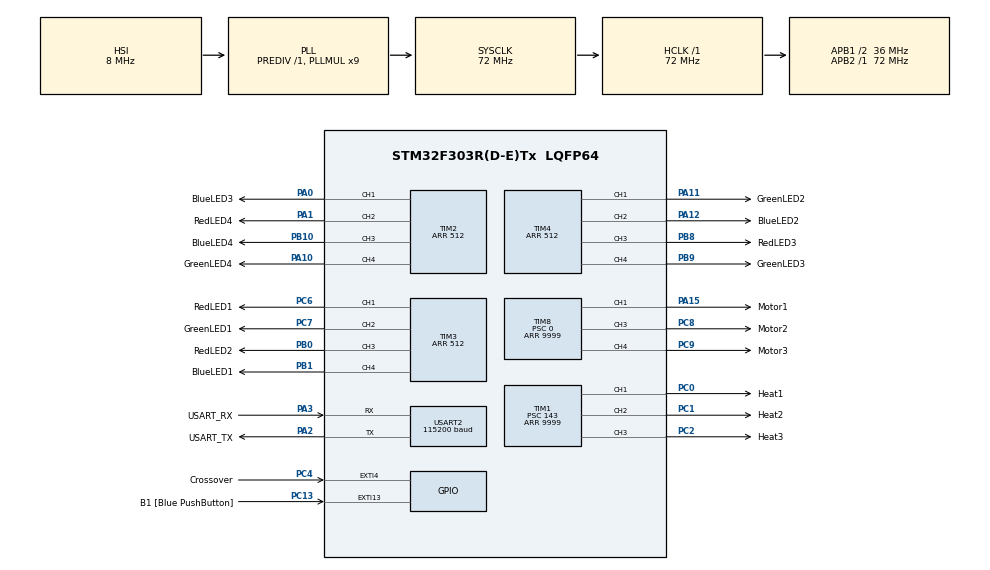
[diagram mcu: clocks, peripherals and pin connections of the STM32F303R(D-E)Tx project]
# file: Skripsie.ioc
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Mcu.Family=STM32F3
Mcu.Name=STM32F303R(D-E)Tx
Mcu.Package=LQFP64
NVIC.EXTI15_10_IRQn=true\:0\:0\:false\:false\:true\:true\:true\:true
NVIC.EXTI4_IRQn=true\:0\:0\:false\:false\:true\:true\:true\:true
NVIC.PriorityGroup=NVIC_PRIORITYGROUP_0
NVIC.USART2_IRQn=true\:0\:0\:false\:false\:true\:true\:true\:true
PA0.GPIO_Label=BlueLED3
PA0.Signal=S_TIM2_CH1_ETR
PA1.GPIO_Label=RedLED4
PA1.Signal=S_TIM2_CH2
PA10.GPIO_Label=GreenLED4
PA10.Signal=S_TIM2_CH4
PA11.GPIO_Label=GreenLED2
PA11.Signal=S_TIM4_CH1
PA12.GPIO_Label=BlueLED2
PA12.Signal=S_TIM4_CH2
PA13.GPIO_Label=TMS
PA13.Mode=Serial_Wire
PA13.Signal=SYS_JTMS-SWDIO
PA14.GPIO_Label=TCK
PA14.Mode=Serial_Wire
PA14.Signal=SYS_JTCK-SWCLK
PA15.GPIO_Label=Motor1
PA15.Signal=S_TIM8_CH1
PA2.GPIO_Label=USART_TX
PA2.GPIO_Mode=GPIO_MODE_AF_PP
PA2.GPIO_PuPd=GPIO_NOPULL
PA2.GPIO_Speed=GPIO_SPEED_FREQ_LOW
PA2.Mode=Asynchronous
PA2.Signal=USART2_TX
PA3.GPIO_Label=USART_RX
PA3.GPIO_Mode=GPIO_MODE_AF_PP
PA3.GPIO_PuPd=GPIO_NOPULL
PA3.GPIO_Speed=GPIO_SPEED_FREQ_LOW
PA3.Mode=Asynchronous
PA3.Signal=USART2_RX
PB0.GPIO_Label=RedLED2
PB0.Signal=S_TIM3_CH3
PB1.GPIO_Label=BlueLED1
PB1.Signal=S_TIM3_CH4
PB10.GPIO_Label=BlueLED4
PB10.Signal=S_TIM2_CH3
PB11.Signal=GPXTI11
PB3.GPIO_Label=SWO
PB3.Signal=SYS_JTDO-TRACESWO
PB8.GPIO_Label=RedLED3
PB8.Signal=S_TIM4_CH3
PB9.GPIO_Label=GreenLED3
PB9.Signal=S_TIM4_CH4
PC0.GPIO_Label=Heat1
PC0.Signal=S_TIM1_CH1
PC1.GPIO_Label=Heat2
PC1.Signal=S_TIM1_CH2
PC13.GPIO_Label=B1 [Blue PushButton]
PC13.GPIO_ModeDefaultEXTI=GPIO_MODE_IT_FALLING
PC13.Signal=GPXTI13
PC14-OSC32_IN.Mode=LSE-External-Oscillator
PC14-OSC32_IN.Signal=RCC_OSC32_IN
PC15-OSC32_OUT.Mode=LSE-External-Oscillator
PC15-OSC32_OUT.Signal=RCC_OSC32_OUT
PC2.GPIO_Label=Heat3
PC2.Signal=S_TIM1_CH3
PC4.GPIO_Label=Crossover
PC4.GPIO_ModeDefaultEXTI=GPIO_MODE_IT_RISING_FALLING
PC4.Signal=GPXTI4
PC6.GPIO_Label=RedLED1
PC6.Signal=S_TIM3_CH1
PC7.GPIO_Label=GreenLED1
PC7.Signal=S_TIM3_CH2
PC8.GPIO_Label=Motor2
PC8.Signal=S_TIM8_CH3
PC9.GPIO_Label=Motor3
PC9.Signal=S_TIM8_CH4
PF0-OSC_IN.Mode=HSE-External-Clock-Source
PF0-OSC_IN.Signal=RCC_OSC_IN
PF1-OSC_OUT.Signal=RCC_OSC_OUT
ProjectManager.HeapSize=0x200
ProjectManager.StackSize=0x400
ProjectManager.TargetToolchain=STM32CubeIDE
RCC.AHBFreq_Value=72000000
RCC.APB1CLKDivider=RCC_HCLK_DIV2
RCC.APB1Freq_Value=36000000
RCC.APB1TimFreq_Value=72000000
RCC.APB2Freq_Value=72000000
RCC.APB2TimFreq_Value=72000000
RCC.CortexFreq_Value=72000000
RCC.HCLKFreq_Value=72000000
RCC.HSE_VALUE=8000000
RCC.HSI_VALUE=8000000
RCC.PLLM=8
RCC.PLLMUL=RCC_PLL_MUL9
RCC.PLLN=336
RCC.PLLP=RCC_PLLP_DIV4
RCC.PLLQ=7
RCC.RCC_PLLsource_Clock_Source_FROM_HSE=RCC_HSE_PREDIV_DIV2
RCC.SYSCLKFreq_VALUE=72000000
RCC.SYSCLKSourceVirtual=RCC_SYSCLKSOURCE_PLLCLK
RCC.USBFreq_Value=72000000
SH.S_TIM1_CH1.0=TIM1_CH1,PWM Generation1 CH1
SH.S_TIM1_CH2.0=TIM1_CH2,PWM Generation2 CH2
SH.S_TIM1_CH3.0=TIM1_CH3,PWM Generation3 CH3
SH.S_TIM2_CH1_ETR.0=TIM2_CH1,PWM Generation1 CH1
SH.S_TIM2_CH2.0=TIM2_CH2,PWM Generation2 CH2
SH.S_TIM2_CH3.0=TIM2_CH3,PWM Generation3 CH3
SH.S_TIM2_CH4.0=TIM2_CH4,PWM Generation4 CH4
SH.S_TIM3_CH1.0=TIM3_CH1,PWM Generation1 CH1
SH.S_TIM3_CH2.0=TIM3_CH2,PWM Generation2 CH2
SH.S_TIM3_CH3.0=TIM3_CH3,PWM Generation3 CH3
SH.S_TIM3_CH4.0=TIM3_CH4,PWM Generation4 CH4
SH.S_TIM4_CH1.0=TIM4_CH1,PWM Generation1 CH1
SH.S_TIM4_CH2.0=TIM4_CH2,PWM Generation2 CH2
SH.S_TIM4_CH3.0=TIM4_CH3,PWM Generation3 CH3
SH.S_TIM4_CH4.0=TIM4_CH4,PWM Generation4 CH4
SH.S_TIM8_CH1.0=TIM8_CH1,PWM Generation1 CH1
SH.S_TIM8_CH3.0=TIM8_CH3,PWM Generation3 CH3
SH.S_TIM8_CH4.0=TIM8_CH4,PWM Generation4 CH4
TIM1.AutoReloadPreload=TIM_AUTORELOAD_PRELOAD_ENABLE
TIM1.Channel-PWM\ Generation1\ CH1=TIM_CHANNEL_1
TIM1.Channel-PWM\ Generation2\ CH2=TIM_CHANNEL_2
TIM1.Channel-PWM\ Generation3\ CH3=TIM_CHANNEL_3
TIM1.ClockDivision=TIM_CLOCKDIVISION_DIV1
TIM1.Period=9999
TIM1.Prescaler=143
TIM2.AutoReloadPreload=TIM_AUTORELOAD_PRELOAD_ENABLE
TIM2.Channel-PWM\ Generation1\ CH1=TIM_CHANNEL_1
TIM2.Channel-PWM\ Generation2\ CH2=TIM_CHANNEL_2
TIM2.Channel-PWM\ Generation3\ CH3=TIM_CHANNEL_3
TIM2.Channel-PWM\ Generation4\ CH4=TIM_CHANNEL_4
TIM2.Period=512
TIM3.AutoReloadPreload=TIM_AUTORELOAD_PRELOAD_ENABLE
TIM3.Channel-PWM\ Generation1\ CH1=TIM_CHANNEL_1
TIM3.Channel-PWM\ Generation2\ CH2=TIM_CHANNEL_2
TIM3.Channel-PWM\ Generation3\ CH3=TIM_CHANNEL_3
TIM3.Channel-PWM\ Generation4\ CH4=TIM_CHANNEL_4
TIM3.Period=512
TIM4.AutoReloadPreload=TIM_AUTORELOAD_PRELOAD_ENABLE
TIM4.Channel-PWM\ Generation1\ CH1=TIM_CHANNEL_1
TIM4.Channel-PWM\ Generation2\ CH2=TIM_CHANNEL_2
TIM4.Channel-PWM\ Generation3\ CH3=TIM_CHANNEL_3
TIM4.Channel-PWM\ Generation4\ CH4=TIM_CHANNEL_4
TIM4.Period=512
TIM8.AutoReloadPreload=TIM_AUTORELOAD_PRELOAD_ENABLE
TIM8.Channel-PWM\ Generation1\ CH1=TIM_CHANNEL_1
TIM8.Channel-PWM\ Generation3\ CH3=TIM_CHANNEL_3
TIM8.Channel-PWM\ Generation4\ CH4=TIM_CHANNEL_4
TIM8.Period=9999
TIM8.Prescaler=0
USART2.BaudRate=115200
USART2.Mode=MODE_RX
USART2.Parity=PARITY_NONE
USART2.StopBits=STOPBITS_1
USART2.VirtualMode-Asynchronous=VM_ASYNC
USART2.WordLength=WORDLENGTH_8B
VP_TIM1_VS_ClockSourceINT.Mode=Internal
VP_TIM2_VS_ClockSourceINT.Mode=Internal
VP_TIM3_VS_ClockSourceINT.Mode=Internal
VP_TIM4_VS_ClockSourceINT.Mode=Internal
VP_TIM8_VS_ClockSourceINT.Mode=Internal
board=NUCLEO-F303RE

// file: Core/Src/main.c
/* USER CODE BEGIN Header */
/**
  ******************************************************************************
  * @file           : main.c
  * @brief          : Main program body
  ******************************************************************************
  * @attention
  *
  * Copyright (c) 2023 STMicroelectronics.
  * All rights reserved.
  *
  * This software is licensed under terms that can be found in the LICENSE file
  * in the root directory of this software component.
  * If no LICENSE file comes with this software, it is provided AS-IS.
  *
  ******************************************************************************
  */
/* USER CODE END Header */
#include "main.h"

TIM_HandleTypeDef htim1;
TIM_HandleTypeDef htim2;
TIM_HandleTypeDef htim3;
TIM_HandleTypeDef htim4;
TIM_HandleTypeDef htim8;

UART_HandleTypeDef huart2;

/* USER CODE BEGIN PV */

//UART variables
uint8_t message_complete = 0;
uint8_t rxBuf[1];
uint8_t cur_indicator = 0;
char message[21] = {0};
//uint32_t ZeroCrossTime = 0;
//uint32_t OnDelay = 0;
int status = -1;
int prevOn = 0;
int flag = 0;
char ADC[5] = "0000\n";
uint32_t ADCoriginal;
uint32_t ADCconverted;
uint32_t ADCconvertedsquared;
uint32_t ADCmax;
int wavecount = 0;
int PWM1 = 0;
int PWM2 = 0;
int PWM3 = 0;
uint32_t Motor1LastOn = 0;
uint32_t Motor1LastOff = 0;
uint32_t Motor2LastOn = 0;
uint32_t Motor2LastOff = 0;
uint32_t Motor3LastOn = 0;
uint32_t Motor3LastOff = 0;
int MotorOneState = 0;
int MotorTwoState = 0;
int MotorThreeState = 0;
char test[5] = "test\n";

/* USER CODE END PV */

void SystemClock_Config(void);
static void MX_GPIO_Init(void);
static void MX_USART2_UART_Init(void);
static void MX_TIM3_Init(void);
static void MX_TIM2_Init(void);
static void MX_TIM4_Init(void);
static void MX_TIM1_Init(void);
static void MX_TIM8_Init(void);
/* USER CODE BEGIN PFP */
void ADCfunc();

// UART functions
void store_message();
void UART();
/* USER CODE END PFP */

int main(void)
{

  /* MCU Configuration--------------------------------------------------------*/

  /* Reset of all peripherals, Initializes the Flash interface and the Systick. */
  HAL_Init();

  /* Configure the system clock */
  SystemClock_Config();

  /* Initialize all configured peripherals */
  MX_GPIO_Init();
  MX_USART2_UART_Init();
  MX_TIM3_Init();
  MX_TIM2_Init();
  MX_TIM4_Init();
  MX_TIM1_Init();
  MX_TIM8_Init();
  /* USER CODE BEGIN 2 */
  HAL_UART_Receive_IT(&huart2, rxBuf, 1);
  HAL_TIM_PWM_Start(&htim3, TIM_CHANNEL_1);
  HAL_TIM_PWM_Start(&htim3, TIM_CHANNEL_2);
  HAL_TIM_PWM_Start(&htim3, TIM_CHANNEL_3);
  HAL_TIM_PWM_Start(&htim3, TIM_CHANNEL_4);
  HAL_TIM_PWM_Start(&htim4, TIM_CHANNEL_1);
  HAL_TIM_PWM_Start(&htim4, TIM_CHANNEL_2);
  HAL_TIM_PWM_Start(&htim4, TIM_CHANNEL_3);
  HAL_TIM_PWM_Start(&htim4, TIM_CHANNEL_4);
  HAL_TIM_PWM_Start(&htim2, TIM_CHANNEL_1);
  HAL_TIM_PWM_Start(&htim2, TIM_CHANNEL_2);
  HAL_TIM_PWM_Start(&htim2, TIM_CHANNEL_3);
  HAL_TIM_PWM_Start(&htim2, TIM_CHANNEL_4);
  HAL_TIM_PWM_Start(&htim1, TIM_CHANNEL_1);
  HAL_TIM_PWM_Start(&htim1, TIM_CHANNEL_2);
  HAL_TIM_PWM_Start(&htim1, TIM_CHANNEL_3);
  HAL_TIM_PWM_Start(&htim8, TIM_CHANNEL_1);
  HAL_TIM_PWM_Start(&htim8, TIM_CHANNEL_3);
  HAL_TIM_PWM_Start(&htim8, TIM_CHANNEL_4);

  /* USER CODE END 2 */

  /* Infinite loop */
  while (1)
  {

    /* USER CODE BEGIN 3 */
	  UART();

	  //On off control
	  if ((wavecount < PWM1) && (MotorOneState == 0) && (MotorTwoState == 0) && (MotorThreeState == 0)){
		  htim1.Instance->CCR1 = 9999;
	  }
	  if ((wavecount == PWM1) && (MotorOneState == 0) && (MotorTwoState == 0) && (MotorThreeState == 0)){
		  HAL_TIM_PWM_Stop(&htim1, TIM_CHANNEL_1);
	  }

	  if ((wavecount < PWM2) && (MotorOneState == 0) && (MotorTwoState == 0) && (MotorThreeState == 0)){
		  htim1.Instance->CCR2 = 9999;
	  }
	  if ((wavecount == PWM2) && (MotorOneState == 0) && (MotorTwoState == 0) && (MotorThreeState == 0)){
		  HAL_TIM_PWM_Stop(&htim1, TIM_CHANNEL_2);
	  }

	  if ((wavecount < PWM3) && (MotorOneState == 0) && (MotorTwoState == 0) && (MotorThreeState == 0)){
		  htim1.Instance->CCR3 = 9999;
	  }
	  if ((wavecount == PWM3) && (MotorOneState == 0) && (MotorTwoState == 0) && (MotorThreeState == 0)){
		  HAL_TIM_PWM_Stop(&htim1, TIM_CHANNEL_3);
	  }

	  if ((wavecount == 100) && (MotorOneState == 0) && (MotorTwoState == 0) && (MotorThreeState == 0)){
		  HAL_TIM_PWM_Start(&htim1, TIM_CHANNEL_1);
          HAL_TIM_PWM_Start(&htim1, TIM_CHANNEL_2);
          HAL_TIM_PWM_Start(&htim1, TIM_CHANNEL_3);
		  wavecount = 0;
	  }

	  if ((flag == 1) && (MotorOneState == 0) && (MotorTwoState == 0) && (MotorThreeState == 0)){
		  wavecount += 1;
		  flag = 0;
	  }

	  if((PWM1 > 0) && (PWM2 > 0) && (PWM3 > 0)){
		  if (((HAL_GetTick() - Motor1LastOn) >= 18000) && (MotorOneState == 0) && (MotorTwoState == 0) && (MotorThreeState == 0)){
		  		  MotorOneState = 1;
		  		  HAL_TIM_PWM_Stop(&htim1, TIM_CHANNEL_1);
		  		  HAL_TIM_PWM_Stop(&htim1, TIM_CHANNEL_2);
		  		  HAL_TIM_PWM_Stop(&htim1, TIM_CHANNEL_3);
		  		  htim8.Instance->CCR1 = 6000;
		  		  Motor1LastOff = HAL_GetTick();
		  	  }
		  	  if (((HAL_GetTick() - Motor1LastOff) >= 3000) && MotorOneState == 1){
		  		  MotorTwoState = 1;
		  		  MotorOneState = 0;
		  		  htim8.Instance->CCR1 = 0;
		  		  Motor2LastOn = HAL_GetTick();
		  	  }
		  	  if (((HAL_GetTick() - Motor2LastOn) >= 1500) && MotorTwoState == 1){
		  		  MotorTwoState = 2;
		  		  htim8.Instance->CCR3 = 6000;
		  		  Motor2LastOff = HAL_GetTick();
		  	  }
		  	  if (((HAL_GetTick() - Motor2LastOff) >= 3000) && MotorTwoState == 2){
		  		  MotorThreeState = 1;
		  		  MotorTwoState = 0;
		  		  htim8.Instance->CCR3 = 0;
		  		  Motor3LastOn = HAL_GetTick();
		  	  }
		  	  if (((HAL_GetTick() - Motor3LastOn) >= 1500) && MotorThreeState == 1){
		  		  MotorThreeState = 2;
		  		  htim8.Instance->CCR4 = 6000;
		  		  Motor3LastOff = HAL_GetTick();
		  	  }
		  	  if (((HAL_GetTick() - Motor3LastOff) >= 3000) && MotorThreeState == 2){
		  		  htim8.Instance->CCR4 = 0;
		  		  HAL_TIM_PWM_Start(&htim1, TIM_CHANNEL_1);
		  		  HAL_TIM_PWM_Start(&htim1, TIM_CHANNEL_2);
		  		  HAL_TIM_PWM_Start(&htim1, TIM_CHANNEL_3);
		  		  Motor1LastOn = HAL_GetTick();
		  		  MotorThreeState = 0;
		  	  }
	  }

	  //LED Statuses
	  if (status == -1){
		  htim3.Instance->CCR1 = 255;
		  htim3.Instance->CCR3 = 255;
		  htim4.Instance->CCR3 = 255;
		  htim2.Instance->CCR2 = 255;
	  }
	  if (status != 1){
		  htim2.Instance->CCR2 = 0;
	  }
	  if (status == 1){
		    htim3.Instance->CCR1 = 0;
		    htim3.Instance->CCR2 = 255;
		  	htim3.Instance->CCR4 = 0;
  	  }
	  if (status == 2){
		  	htim3.Instance->CCR1 = 255;
		  	htim3.Instance->CCR2 = 165;
		  	htim3.Instance->CCR4 = 0;
	  }
	  if (status == 3){
			htim3.Instance->CCR1 = 255;
			htim3.Instance->CCR2 = 0;
			htim3.Instance->CCR4 = 0;
	  }
	  if (status == 4){
			htim3.Instance->CCR3 = 0;
			htim4.Instance->CCR1 = 255;
			htim4.Instance->CCR2 = 0;
	  }
	  if (status == 5){
			htim3.Instance->CCR3 = 255;
			htim4.Instance->CCR1 = 165;
			htim4.Instance->CCR2 = 0;
	  }
	  if (status == 6){
			htim3.Instance->CCR3 = 255;
			htim4.Instance->CCR1 = 0;
			htim4.Instance->CCR2 = 0;
	  }
	  if (status == 7){
			htim4.Instance->CCR3 = 0;
			htim4.Instance->CCR4 = 255;
			htim2.Instance->CCR1 = 0;
	  }
	  if (status == 8){
			htim4.Instance->CCR3 = 255;
			htim4.Instance->CCR4 = 165;
			htim2.Instance->CCR1 = 0;
	  }
	  if (status == 9){
			htim4.Instance->CCR3 = 255;
			htim4.Instance->CCR4 = 0;
			htim2.Instance->CCR1 = 0;
	  }
  }
  /* USER CODE END 3 */
}

void SystemClock_Config(void)
{
  RCC_OscInitTypeDef RCC_OscInitStruct = {0};
  RCC_ClkInitTypeDef RCC_ClkInitStruct = {0};
  RCC_PeriphCLKInitTypeDef PeriphClkInit = {0};

  /** Initializes the RCC Oscillators according to the specified parameters
  * in the RCC_OscInitTypeDef structure.
  */
  RCC_OscInitStruct.OscillatorType = RCC_OSCILLATORTYPE_HSI;
  RCC_OscInitStruct.HSIState = RCC_HSI_ON;
  RCC_OscInitStruct.HSICalibrationValue = RCC_HSICALIBRATION_DEFAULT;
  RCC_OscInitStruct.PLL.PLLState = RCC_PLL_ON;
  RCC_OscInitStruct.PLL.PLLSource = RCC_PLLSOURCE_HSI;
  RCC_OscInitStruct.PLL.PLLMUL = RCC_PLL_MUL9;
  RCC_OscInitStruct.PLL.PREDIV = RCC_PREDIV_DIV1;
  if (HAL_RCC_OscConfig(&RCC_OscInitStruct) != HAL_OK)
  {
    Error_Handler();
  }

  /** Initializes the CPU, AHB and APB buses clocks
  */
  RCC_ClkInitStruct.ClockType = RCC_CLOCKTYPE_HCLK|RCC_CLOCKTYPE_SYSCLK
                              |RCC_CLOCKTYPE_PCLK1|RCC_CLOCKTYPE_PCLK2;
  RCC_ClkInitStruct.SYSCLKSource = RCC_SYSCLKSOURCE_PLLCLK;
  RCC_ClkInitStruct.AHBCLKDivider = RCC_SYSCLK_DIV1;
  RCC_ClkInitStruct.APB1CLKDivider = RCC_HCLK_DIV2;
  RCC_ClkInitStruct.APB2CLKDivider = RCC_HCLK_DIV1;

  if (HAL_RCC_ClockConfig(&RCC_ClkInitStruct, FLASH_LATENCY_2) != HAL_OK)
  {
    Error_Handler();
  }
  PeriphClkInit.PeriphClockSelection = RCC_PERIPHCLK_USART2|RCC_PERIPHCLK_TIM1
                              |RCC_PERIPHCLK_TIM8|RCC_PERIPHCLK_TIM2
                              |RCC_PERIPHCLK_TIM34;
  PeriphClkInit.Usart2ClockSelection = RCC_USART2CLKSOURCE_PCLK1;
  PeriphClkInit.Tim1ClockSelection = RCC_TIM1CLK_HCLK;
  PeriphClkInit.Tim8ClockSelection = RCC_TIM8CLK_HCLK;
  PeriphClkInit.Tim2ClockSelection = RCC_TIM2CLK_HCLK;
  PeriphClkInit.Tim34ClockSelection = RCC_TIM34CLK_HCLK;
  if (HAL_RCCEx_PeriphCLKConfig(&PeriphClkInit) != HAL_OK)
  {
    Error_Handler();
  }
}

static void MX_TIM1_Init(void)
{

  TIM_ClockConfigTypeDef sClockSourceConfig = {0};
  TIM_MasterConfigTypeDef sMasterConfig = {0};
  TIM_OC_InitTypeDef sConfigOC = {0};
  TIM_BreakDeadTimeConfigTypeDef sBreakDeadTimeConfig = {0};

  htim1.Instance = TIM1;
  htim1.Init.Prescaler = 143;
  htim1.Init.CounterMode = TIM_COUNTERMODE_UP;
  htim1.Init.Period = 9999;
  htim1.Init.ClockDivision = TIM_CLOCKDIVISION_DIV1;
  htim1.Init.RepetitionCounter = 0;
  htim1.Init.AutoReloadPreload = TIM_AUTORELOAD_PRELOAD_ENABLE;
  if (HAL_TIM_Base_Init(&htim1) != HAL_OK)
  {
    Error_Handler();
  }
  sClockSourceConfig.ClockSource = TIM_CLOCKSOURCE_INTERNAL;
  if (HAL_TIM_ConfigClockSource(&htim1, &sClockSourceConfig) != HAL_OK)
  {
    Error_Handler();
  }
  if (HAL_TIM_PWM_Init(&htim1) != HAL_OK)
  {
    Error_Handler();
  }
  sMasterConfig.MasterOutputTrigger = TIM_TRGO_RESET;
  sMasterConfig.MasterOutputTrigger2 = TIM_TRGO2_RESET;
  sMasterConfig.MasterSlaveMode = TIM_MASTERSLAVEMODE_DISABLE;
  if (HAL_TIMEx_MasterConfigSynchronization(&htim1, &sMasterConfig) != HAL_OK)
  {
    Error_Handler();
  }
  sConfigOC.OCMode = TIM_OCMODE_PWM1;
  sConfigOC.Pulse = 0;
  sConfigOC.OCPolarity = TIM_OCPOLARITY_HIGH;
  sConfigOC.OCNPolarity = TIM_OCNPOLARITY_HIGH;
  sConfigOC.OCFastMode = TIM_OCFAST_DISABLE;
  sConfigOC.OCIdleState = TIM_OCIDLESTATE_RESET;
  sConfigOC.OCNIdleState = TIM_OCNIDLESTATE_RESET;
  if (HAL_TIM_PWM_ConfigChannel(&htim1, &sConfigOC, TIM_CHANNEL_1) != HAL_OK)
  {
    Error_Handler();
  }
  if (HAL_TIM_PWM_ConfigChannel(&htim1, &sConfigOC, TIM_CHANNEL_2) != HAL_OK)
  {
    Error_Handler();
  }
  if (HAL_TIM_PWM_ConfigChannel(&htim1, &sConfigOC, TIM_CHANNEL_3) != HAL_OK)
  {
    Error_Handler();
  }
  sBreakDeadTimeConfig.OffStateRunMode = TIM_OSSR_DISABLE;
  sBreakDeadTimeConfig.OffStateIDLEMode = TIM_OSSI_DISABLE;
  sBreakDeadTimeConfig.LockLevel = TIM_LOCKLEVEL_OFF;
  sBreakDeadTimeConfig.DeadTime = 0;
  sBreakDeadTimeConfig.BreakState = TIM_BREAK_DISABLE;
  sBreakDeadTimeConfig.BreakPolarity = TIM_BREAKPOLARITY_HIGH;
  sBreakDeadTimeConfig.BreakFilter = 0;
  sBreakDeadTimeConfig.Break2State = TIM_BREAK2_DISABLE;
  sBreakDeadTimeConfig.Break2Polarity = TIM_BREAK2POLARITY_HIGH;
  sBreakDeadTimeConfig.Break2Filter = 0;
  sBreakDeadTimeConfig.AutomaticOutput = TIM_AUTOMATICOUTPUT_DISABLE;
  if (HAL_TIMEx_ConfigBreakDeadTime(&htim1, &sBreakDeadTimeConfig) != HAL_OK)
  {
    Error_Handler();
  }
  HAL_TIM_MspPostInit(&htim1);

}

static void MX_TIM2_Init(void)
{

  TIM_ClockConfigTypeDef sClockSourceConfig = {0};
  TIM_MasterConfigTypeDef sMasterConfig = {0};
  TIM_OC_InitTypeDef sConfigOC = {0};

  htim2.Instance = TIM2;
  htim2.Init.Prescaler = 0;
  htim2.Init.CounterMode = TIM_COUNTERMODE_UP;
  htim2.Init.Period = 512;
  htim2.Init.ClockDivision = TIM_CLOCKDIVISION_DIV1;
  htim2.Init.AutoReloadPreload = TIM_AUTORELOAD_PRELOAD_ENABLE;
  if (HAL_TIM_Base_Init(&htim2) != HAL_OK)
  {
    Error_Handler();
  }
  sClockSourceConfig.ClockSource = TIM_CLOCKSOURCE_INTERNAL;
  if (HAL_TIM_ConfigClockSource(&htim2, &sClockSourceConfig) != HAL_OK)
  {
    Error_Handler();
  }
  if (HAL_TIM_PWM_Init(&htim2) != HAL_OK)
  {
    Error_Handler();
  }
  sMasterConfig.MasterOutputTrigger = TIM_TRGO_RESET;
  sMasterConfig.MasterSlaveMode = TIM_MASTERSLAVEMODE_DISABLE;
  if (HAL_TIMEx_MasterConfigSynchronization(&htim2, &sMasterConfig) != HAL_OK)
  {
    Error_Handler();
  }
  sConfigOC.OCMode = TIM_OCMODE_PWM1;
  sConfigOC.Pulse = 0;
  sConfigOC.OCPolarity = TIM_OCPOLARITY_HIGH;
  sConfigOC.OCFastMode = TIM_OCFAST_DISABLE;
  if (HAL_TIM_PWM_ConfigChannel(&htim2, &sConfigOC, TIM_CHANNEL_1) != HAL_OK)
  {
    Error_Handler();
  }
  if (HAL_TIM_PWM_ConfigChannel(&htim2, &sConfigOC, TIM_CHANNEL_2) != HAL_OK)
  {
    Error_Handler();
  }
  if (HAL_TIM_PWM_ConfigChannel(&htim2, &sConfigOC, TIM_CHANNEL_3) != HAL_OK)
  {
    Error_Handler();
  }
  if (HAL_TIM_PWM_ConfigChannel(&htim2, &sConfigOC, TIM_CHANNEL_4) != HAL_OK)
  {
    Error_Handler();
  }
  HAL_TIM_MspPostInit(&htim2);

}

static void MX_TIM3_Init(void)
{

  TIM_ClockConfigTypeDef sClockSourceConfig = {0};
  TIM_MasterConfigTypeDef sMasterConfig = {0};
  TIM_OC_InitTypeDef sConfigOC = {0};

  htim3.Instance = TIM3;
  htim3.Init.Prescaler = 0;
  htim3.Init.CounterMode = TIM_COUNTERMODE_UP;
  htim3.Init.Period = 512;
  htim3.Init.ClockDivision = TIM_CLOCKDIVISION_DIV1;
  htim3.Init.AutoReloadPreload = TIM_AUTORELOAD_PRELOAD_ENABLE;
  if (HAL_TIM_Base_Init(&htim3) != HAL_OK)
  {
    Error_Handler();
  }
  sClockSourceConfig.ClockSource = TIM_CLOCKSOURCE_INTERNAL;
  if (HAL_TIM_ConfigClockSource(&htim3, &sClockSourceConfig) != HAL_OK)
  {
    Error_Handler();
  }
  if (HAL_TIM_PWM_Init(&htim3) != HAL_OK)
  {
    Error_Handler();
  }
  sMasterConfig.MasterOutputTrigger = TIM_TRGO_RESET;
  sMasterConfig.MasterSlaveMode = TIM_MASTERSLAVEMODE_DISABLE;
  if (HAL_TIMEx_MasterConfigSynchronization(&htim3, &sMasterConfig) != HAL_OK)
  {
    Error_Handler();
  }
  sConfigOC.OCMode = TIM_OCMODE_PWM1;
  sConfigOC.Pulse = 0;
  sConfigOC.OCPolarity = TIM_OCPOLARITY_HIGH;
  sConfigOC.OCFastMode = TIM_OCFAST_DISABLE;
  if (HAL_TIM_PWM_ConfigChannel(&htim3, &sConfigOC, TIM_CHANNEL_1) != HAL_OK)
  {
    Error_Handler();
  }
  if (HAL_TIM_PWM_ConfigChannel(&htim3, &sConfigOC, TIM_CHANNEL_2) != HAL_OK)
  {
    Error_Handler();
  }
  if (HAL_TIM_PWM_ConfigChannel(&htim3, &sConfigOC, TIM_CHANNEL_3) != HAL_OK)
  {
    Error_Handler();
  }
  if (HAL_TIM_PWM_ConfigChannel(&htim3, &sConfigOC, TIM_CHANNEL_4) != HAL_OK)
  {
    Error_Handler();
  }
  HAL_TIM_MspPostInit(&htim3);

}

static void MX_TIM4_Init(void)
{

  TIM_ClockConfigTypeDef sClockSourceConfig = {0};
  TIM_MasterConfigTypeDef sMasterConfig = {0};
  TIM_OC_InitTypeDef sConfigOC = {0};

  htim4.Instance = TIM4;
  htim4.Init.Prescaler = 0;
  htim4.Init.CounterMode = TIM_COUNTERMODE_UP;
  htim4.Init.Period = 512;
  htim4.Init.ClockDivision = TIM_CLOCKDIVISION_DIV1;
  htim4.Init.AutoReloadPreload = TIM_AUTORELOAD_PRELOAD_ENABLE;
  if (HAL_TIM_Base_Init(&htim4) != HAL_OK)
  {
    Error_Handler();
  }
  sClockSourceConfig.ClockSource = TIM_CLOCKSOURCE_INTERNAL;
  if (HAL_TIM_ConfigClockSource(&htim4, &sClockSourceConfig) != HAL_OK)
  {
    Error_Handler();
  }
  if (HAL_TIM_PWM_Init(&htim4) != HAL_OK)
  {
    Error_Handler();
  }
  sMasterConfig.MasterOutputTrigger = TIM_TRGO_RESET;
  sMasterConfig.MasterSlaveMode = TIM_MASTERSLAVEMODE_DISABLE;
  if (HAL_TIMEx_MasterConfigSynchronization(&htim4, &sMasterConfig) != HAL_OK)
  {
    Error_Handler();
  }
  sConfigOC.OCMode = TIM_OCMODE_PWM1;
  sConfigOC.Pulse = 0;
  sConfigOC.OCPolarity = TIM_OCPOLARITY_HIGH;
  sConfigOC.OCFastMode = TIM_OCFAST_DISABLE;
  if (HAL_TIM_PWM_ConfigChannel(&htim4, &sConfigOC, TIM_CHANNEL_1) != HAL_OK)
  {
    Error_Handler();
  }
  if (HAL_TIM_PWM_ConfigChannel(&htim4, &sConfigOC, TIM_CHANNEL_2) != HAL_OK)
  {
    Error_Handler();
  }
  if (HAL_TIM_PWM_ConfigChannel(&htim4, &sConfigOC, TIM_CHANNEL_3) != HAL_OK)
  {
    Error_Handler();
  }
  if (HAL_TIM_PWM_ConfigChannel(&htim4, &sConfigOC, TIM_CHANNEL_4) != HAL_OK)
  {
    Error_Handler();
  }
  HAL_TIM_MspPostInit(&htim4);

}

static void MX_TIM8_Init(void)
{

  TIM_ClockConfigTypeDef sClockSourceConfig = {0};
  TIM_MasterConfigTypeDef sMasterConfig = {0};
  TIM_OC_InitTypeDef sConfigOC = {0};
  TIM_BreakDeadTimeConfigTypeDef sBreakDeadTimeConfig = {0};

  htim8.Instance = TIM8;
  htim8.Init.Prescaler = 0;
  htim8.Init.CounterMode = TIM_COUNTERMODE_UP;
  htim8.Init.Period = 9999;
  htim8.Init.ClockDivision = TIM_CLOCKDIVISION_DIV1;
  htim8.Init.RepetitionCounter = 0;
  htim8.Init.AutoReloadPreload = TIM_AUTORELOAD_PRELOAD_ENABLE;
  if (HAL_TIM_Base_Init(&htim8) != HAL_OK)
  {
    Error_Handler();
  }
  sClockSourceConfig.ClockSource = TIM_CLOCKSOURCE_INTERNAL;
  if (HAL_TIM_ConfigClockSource(&htim8, &sClockSourceConfig) != HAL_OK)
  {
    Error_Handler();
  }
  if (HAL_TIM_PWM_Init(&htim8) != HAL_OK)
  {
    Error_Handler();
  }
  sMasterConfig.MasterOutputTrigger = TIM_TRGO_RESET;
  sMasterConfig.MasterOutputTrigger2 = TIM_TRGO2_RESET;
  sMasterConfig.MasterSlaveMode = TIM_MASTERSLAVEMODE_DISABLE;
  if (HAL_TIMEx_MasterConfigSynchronization(&htim8, &sMasterConfig) != HAL_OK)
  {
    Error_Handler();
  }
  sConfigOC.OCMode = TIM_OCMODE_PWM1;
  sConfigOC.Pulse = 0;
  sConfigOC.OCPolarity = TIM_OCPOLARITY_HIGH;
  sConfigOC.OCNPolarity = TIM_OCNPOLARITY_HIGH;
  sConfigOC.OCFastMode = TIM_OCFAST_DISABLE;
  sConfigOC.OCIdleState = TIM_OCIDLESTATE_RESET;
  sConfigOC.OCNIdleState = TIM_OCNIDLESTATE_RESET;
  if (HAL_TIM_PWM_ConfigChannel(&htim8, &sConfigOC, TIM_CHANNEL_1) != HAL_OK)
  {
    Error_Handler();
  }
  if (HAL_TIM_PWM_ConfigChannel(&htim8, &sConfigOC, TIM_CHANNEL_3) != HAL_OK)
  {
    Error_Handler();
  }
  if (HAL_TIM_PWM_ConfigChannel(&htim8, &sConfigOC, TIM_CHANNEL_4) != HAL_OK)
  {
    Error_Handler();
  }
  sBreakDeadTimeConfig.OffStateRunMode = TIM_OSSR_DISABLE;
  sBreakDeadTimeConfig.OffStateIDLEMode = TIM_OSSI_DISABLE;
  sBreakDeadTimeConfig.LockLevel = TIM_LOCKLEVEL_OFF;
  sBreakDeadTimeConfig.DeadTime = 0;
  sBreakDeadTimeConfig.BreakState = TIM_BREAK_DISABLE;
  sBreakDeadTimeConfig.BreakPolarity = TIM_BREAKPOLARITY_HIGH;
  sBreakDeadTimeConfig.BreakFilter = 0;
  sBreakDeadTimeConfig.Break2State = TIM_BREAK2_DISABLE;
  sBreakDeadTimeConfig.Break2Polarity = TIM_BREAK2POLARITY_HIGH;
  sBreakDeadTimeConfig.Break2Filter = 0;
  sBreakDeadTimeConfig.AutomaticOutput = TIM_AUTOMATICOUTPUT_DISABLE;
  if (HAL_TIMEx_ConfigBreakDeadTime(&htim8, &sBreakDeadTimeConfig) != HAL_OK)
  {
    Error_Handler();
  }
  HAL_TIM_MspPostInit(&htim8);

}

static void MX_USART2_UART_Init(void)
{

  huart2.Instance = USART2;
  huart2.Init.BaudRate = 115200;
  huart2.Init.WordLength = UART_WORDLENGTH_8B;
  huart2.Init.StopBits = UART_STOPBITS_1;
  huart2.Init.Parity = UART_PARITY_NONE;
  huart2.Init.Mode = UART_MODE_RX;
  huart2.Init.HwFlowCtl = UART_HWCONTROL_NONE;
  huart2.Init.OverSampling = UART_OVERSAMPLING_16;
  huart2.Init.OneBitSampling = UART_ONE_BIT_SAMPLE_DISABLE;
  huart2.AdvancedInit.AdvFeatureInit = UART_ADVFEATURE_NO_INIT;
  if (HAL_UART_Init(&huart2) != HAL_OK)
  {
    Error_Handler();
  }

}

static void MX_GPIO_Init(void)
{
  GPIO_InitTypeDef GPIO_InitStruct = {0};

  /* GPIO Ports Clock Enable */
  __HAL_RCC_GPIOC_CLK_ENABLE();
  __HAL_RCC_GPIOF_CLK_ENABLE();
  __HAL_RCC_GPIOA_CLK_ENABLE();
  __HAL_RCC_GPIOB_CLK_ENABLE();

  /*Configure GPIO pin : B1_Pin */
  GPIO_InitStruct.Pin = B1_Pin;
  GPIO_InitStruct.Mode = GPIO_MODE_IT_FALLING;
  GPIO_InitStruct.Pull = GPIO_NOPULL;
  HAL_GPIO_Init(B1_GPIO_Port, &GPIO_InitStruct);

  /*Configure GPIO pin : Crossover_Pin */
  GPIO_InitStruct.Pin = Crossover_Pin;
  GPIO_InitStruct.Mode = GPIO_MODE_IT_RISING_FALLING;
  GPIO_InitStruct.Pull = GPIO_NOPULL;
  HAL_GPIO_Init(Crossover_GPIO_Port, &GPIO_InitStruct);

  /*Configure GPIO pin : PB11 */
  GPIO_InitStruct.Pin = GPIO_PIN_11;
  GPIO_InitStruct.Mode = GPIO_MODE_IT_RISING;
  GPIO_InitStruct.Pull = GPIO_NOPULL;
  HAL_GPIO_Init(GPIOB, &GPIO_InitStruct);

  /* EXTI interrupt init*/
  HAL_NVIC_SetPriority(EXTI4_IRQn, 0, 0);
  HAL_NVIC_EnableIRQ(EXTI4_IRQn);

  HAL_NVIC_SetPriority(EXTI15_10_IRQn, 0, 0);
  HAL_NVIC_EnableIRQ(EXTI15_10_IRQn);

}

/* USER CODE BEGIN 4 */
void HAL_UART_RxCpltCallback(UART_HandleTypeDef *huart) {
	store_message();
	HAL_UART_Receive_IT(&huart2, rxBuf, 1);
}

void store_message(){
	if(rxBuf[0] == 35){
		cur_indicator = 0;
		message[cur_indicator] = rxBuf[0];
		cur_indicator++;
	} else if(rxBuf[0] != 36){
		message[cur_indicator] = rxBuf[0];
		cur_indicator++;
	} else if (rxBuf[0] == 36){
		message[cur_indicator] = rxBuf[0];
		message_complete=1;
	}
}

void UART(){
	if(message_complete == 1){

		if (message[2] == 80 && message[3] == 87 && message[4] == 77){
			if (message[6] == 48){
				//HAL_UART_Transmit(&huart2,(uint8_t*)test,5,50);
				PWM1 = (message[7] - 48)*100 + (message[8] - 48)*10 + (message[9] - 48);
				if (message[17] == 48){
					status = 1;
				}
				if (message[17] == 49){
					status = 2;
				}
				if (message[17] == 50){
					status = 3;
				}
			}
			if (message[6] == 49){
				PWM2 = (message[7] - 48)*100 + (message[8] - 48)*10 + (message[9] - 48);
				if (message[17] == 48){
					status = 4;
				}
				if (message[17] == 49){
					status = 5;
				}
				if (message[17] == 50){
					status = 6;
				}
			}
			if (message[6] == 50){
				PWM3 = (message[7] - 48)*100 + (message[8] - 48)*10 + (message[9] - 48);
				if (message[17] == 48){
					status = 7;
				}
				if (message[17] == 49){
					status = 8;
				}
				if (message[17] == 50){
					status = 9;
				}
			}

		}
		message_complete = 0;
	}
}
void HAL_GPIO_EXTI_Callback(uint16_t GPIO_Pin){
	if (GPIO_Pin == GPIO_PIN_4){
		if ((prevOn == 0)  && (HAL_GPIO_ReadPin(GPIOC, GPIO_PIN_4) == 1)){
			flag = 1;
			prevOn = 1;
		}
		if ((prevOn == 1)  && (HAL_GPIO_ReadPin(GPIOC, GPIO_PIN_4) == 0)){
			flag = 1;
			prevOn = 0;
		}
	}
}

/* USER CODE END 4 */

void Error_Handler(void)
{
  __disable_irq();
  while (1)
  {
  }
}
